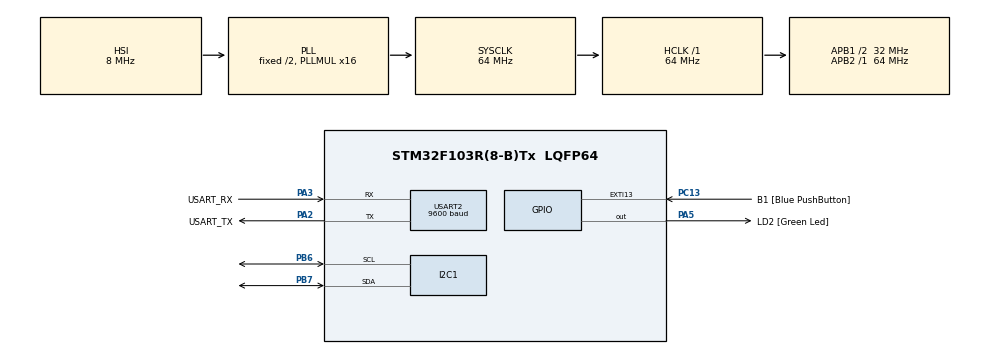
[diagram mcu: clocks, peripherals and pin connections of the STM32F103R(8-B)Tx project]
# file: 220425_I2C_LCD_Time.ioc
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Mcu.Family=STM32F1
Mcu.Name=STM32F103R(8-B)Tx
Mcu.Package=LQFP64
NVIC.EXTI15_10_IRQn=true\:0\:0\:false\:false\:true\:true\:true\:true
NVIC.PriorityGroup=NVIC_PRIORITYGROUP_4
NVIC.TIM2_IRQn=true\:0\:0\:false\:false\:true\:true\:true\:true
PA13.GPIO_Label=TMS
PA13.Mode=Serial_Wire
PA13.Signal=SYS_JTMS-SWDIO
PA14.GPIO_Label=TCK
PA14.Mode=Serial_Wire
PA14.Signal=SYS_JTCK-SWCLK
PA2.GPIO_Label=USART_TX
PA2.GPIO_Mode=GPIO_MODE_AF_PP
PA2.GPIO_PuPd=GPIO_NOPULL
PA2.GPIO_Speed=GPIO_SPEED_FREQ_LOW
PA2.Mode=Asynchronous
PA2.Signal=USART2_TX
PA3.GPIO_Label=USART_RX
PA3.GPIO_Mode=GPIO_MODE_AF_PP
PA3.GPIO_PuPd=GPIO_NOPULL
PA3.GPIO_Speed=GPIO_SPEED_FREQ_LOW
PA3.Mode=Asynchronous
PA3.Signal=USART2_RX
PA5.GPIO_Label=LD2 [Green Led]
PA5.GPIO_ModeDefaultOutputPP=GPIO_MODE_OUTPUT_PP
PA5.GPIO_PuPd=GPIO_NOPULL
PA5.GPIO_Speed=GPIO_SPEED_FREQ_LOW
PA5.Signal=GPIO_Output
PB3.GPIO_Label=SWO
PB3.Signal=SYS_JTDO-TRACESWO
PB6.Mode=I2C
PB6.Signal=I2C1_SCL
PB7.Mode=I2C
PB7.Signal=I2C1_SDA
PC13-TAMPER-RTC.GPIO_Label=B1 [Blue PushButton]
PC13-TAMPER-RTC.GPIO_PuPd=GPIO_NOPULL
PC13-TAMPER-RTC.Signal=GPXTI13
PC14-OSC32_IN.Mode=LSE-External-Oscillator
PC14-OSC32_IN.Signal=RCC_OSC32_IN
PC15-OSC32_OUT.Mode=LSE-External-Oscillator
PC15-OSC32_OUT.Signal=RCC_OSC32_OUT
PD0-OSC_IN.Mode=HSE-External-Clock-Source
PD0-OSC_IN.Signal=RCC_OSC_IN
PD1-OSC_OUT.Mode=HSE-External-Clock-Source
PD1-OSC_OUT.Signal=RCC_OSC_OUT
ProjectManager.HeapSize=0x200
ProjectManager.StackSize=0x400
ProjectManager.TargetToolchain=STM32CubeIDE
RCC.AHBFreq_Value=64000000
RCC.APB1CLKDivider=RCC_HCLK_DIV2
RCC.APB1Freq_Value=32000000
RCC.APB1TimFreq_Value=64000000
RCC.APB2Freq_Value=64000000
RCC.APB2TimFreq_Value=64000000
RCC.HCLKFreq_Value=64000000
RCC.PLLMUL=RCC_PLL_MUL16
RCC.RTCClockSelection=RCC_RTCCLKSOURCE_LSE
RCC.SYSCLKFreq_VALUE=64000000
RCC.SYSCLKSource=RCC_SYSCLKSOURCE_PLLCLK
RCC.USBFreq_Value=64000000
TIM2.Period=1000-1
TIM2.Prescaler=6400-1
USART2.BaudRate=9600
USART2.VirtualMode=VM_ASYNC
VP_TIM2_VS_ClockSourceINT.Mode=Internal
board=NUCLEO-F103RB

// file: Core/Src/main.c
/* USER CODE BEGIN Header */
/**
 ******************************************************************************
 * @file           : main.c
 * @brief          : Main program body
 ******************************************************************************
 * @attention
 *
 * Copyright (c) 2022 STMicroelectronics.
 * All rights reserved.
 *
 * This software is licensed under terms that can be found in the LICENSE file
 * in the root directory of this software component.
 * If no LICENSE file comes with this software, it is provided AS-IS.
 *
 ******************************************************************************
 */
/* USER CODE END Header */
#include "main.h"

I2C_HandleTypeDef hi2c1;

TIM_HandleTypeDef htim2;

UART_HandleTypeDef huart2;

/* USER CODE BEGIN PV */
int flag = 0;
int hour_state = 0; // 0 = AM, 1 = PM
char AM_PM[10] = "AM";
int min = 0, hour = 12, sec = 0;
/* USER CODE END PV */

void SystemClock_Config(void);
static void MX_GPIO_Init(void);
static void MX_USART2_UART_Init(void);
static void MX_I2C1_Init(void);
static void MX_TIM2_Init(void);
/* USER CODE BEGIN PFP */
#ifdef __GNUC__
/* With GCC, small printf (option LD Linker->Libraries->Small printf
 set to 'Yes') calls __io_putchar() */
#define PUTCHAR_PROTOTYPE int __io_putchar(int ch)
#else
#define PUTCHAR_PROTOTYPE int fputc(int ch, FILE *f)
#endif /* __GNUC__ */
PUTCHAR_PROTOTYPE {
	/* Place your implementation of fputc here */
	/* e.g. write a character to the USART1 and Loop until the end of transmission */
	HAL_UART_Transmit(&huart2, (uint8_t*) &ch, 1, 0xFFFF);

	return ch;
}
/* USER CODE END PFP */

int main(void) {

	/* MCU Configuration--------------------------------------------------------*/

	/* Reset of all peripherals, Initializes the Flash interface and the Systick. */
	HAL_Init();

	/* Configure the system clock */
	SystemClock_Config();

	/* Initialize all configured peripherals */
	MX_GPIO_Init();
	MX_USART2_UART_Init();
	MX_I2C1_Init();
	MX_TIM2_Init();
	/* USER CODE BEGIN 2 */
	lcd_init();

	HAL_TIM_Base_Start_IT(&htim2);
	/* USER CODE END 2 */

	/* Infinite loop */
	/* USER CODE BEGIN WHILE */
	while (1) {
		//lcd_clear();
		lcd_put_cur(0, 0);
		lcd_send_string("clock");

		lcd_put_cur(1, 0);
		char str[50];

		sprintf(str, " %d : %d : %d  ", hour, min, sec);
		lcd_send_string(AM_PM);
		lcd_send_string(str);
//		char h = hour + '0';
//		char m = min + '0';
//		char s = sec + '0';
//
//		lcd_send_string(&h);
//		lcd_send_string("H ");
//
//		lcd_send_string(&m);
//		lcd_send_string("M ");
//
//		lcd_send_string(&s);
//		lcd_send_string("S");

		printf("%d시 %d분 %d초\n\r", hour, min, sec);
		HAL_Delay(500);
		/* USER CODE END WHILE */

	}
}

void SystemClock_Config(void) {
	RCC_OscInitTypeDef RCC_OscInitStruct = { 0 };
	RCC_ClkInitTypeDef RCC_ClkInitStruct = { 0 };

	/** Initializes the RCC Oscillators according to the specified parameters
	 * in the RCC_OscInitTypeDef structure.
	 */
	RCC_OscInitStruct.OscillatorType = RCC_OSCILLATORTYPE_HSI;
	RCC_OscInitStruct.HSIState = RCC_HSI_ON;
	RCC_OscInitStruct.HSICalibrationValue = RCC_HSICALIBRATION_DEFAULT;
	RCC_OscInitStruct.PLL.PLLState = RCC_PLL_ON;
	RCC_OscInitStruct.PLL.PLLSource = RCC_PLLSOURCE_HSI_DIV2;
	RCC_OscInitStruct.PLL.PLLMUL = RCC_PLL_MUL16;
	if (HAL_RCC_OscConfig(&RCC_OscInitStruct) != HAL_OK) {
		Error_Handler();
	}

	/** Initializes the CPU, AHB and APB buses clocks
	 */
	RCC_ClkInitStruct.ClockType = RCC_CLOCKTYPE_HCLK | RCC_CLOCKTYPE_SYSCLK
			| RCC_CLOCKTYPE_PCLK1 | RCC_CLOCKTYPE_PCLK2;
	RCC_ClkInitStruct.SYSCLKSource = RCC_SYSCLKSOURCE_PLLCLK;
	RCC_ClkInitStruct.AHBCLKDivider = RCC_SYSCLK_DIV1;
	RCC_ClkInitStruct.APB1CLKDivider = RCC_HCLK_DIV2;
	RCC_ClkInitStruct.APB2CLKDivider = RCC_HCLK_DIV1;

	if (HAL_RCC_ClockConfig(&RCC_ClkInitStruct, FLASH_LATENCY_2) != HAL_OK) {
		Error_Handler();
	}
}

static void MX_I2C1_Init(void) {

	hi2c1.Instance = I2C1;
	hi2c1.Init.ClockSpeed = 100000;
	hi2c1.Init.DutyCycle = I2C_DUTYCYCLE_2;
	hi2c1.Init.OwnAddress1 = 0;
	hi2c1.Init.AddressingMode = I2C_ADDRESSINGMODE_7BIT;
	hi2c1.Init.DualAddressMode = I2C_DUALADDRESS_DISABLE;
	hi2c1.Init.OwnAddress2 = 0;
	hi2c1.Init.GeneralCallMode = I2C_GENERALCALL_DISABLE;
	hi2c1.Init.NoStretchMode = I2C_NOSTRETCH_DISABLE;
	if (HAL_I2C_Init(&hi2c1) != HAL_OK) {
		Error_Handler();
	}

}

static void MX_TIM2_Init(void) {

	TIM_ClockConfigTypeDef sClockSourceConfig = { 0 };
	TIM_MasterConfigTypeDef sMasterConfig = { 0 };

	htim2.Instance = TIM2;
	htim2.Init.Prescaler = 6400 - 1;
	htim2.Init.CounterMode = TIM_COUNTERMODE_UP;
	htim2.Init.Period = 1000 - 1;
	htim2.Init.ClockDivision = TIM_CLOCKDIVISION_DIV1;
	htim2.Init.AutoReloadPreload = TIM_AUTORELOAD_PRELOAD_DISABLE;
	if (HAL_TIM_Base_Init(&htim2) != HAL_OK) {
		Error_Handler();
	}
	sClockSourceConfig.ClockSource = TIM_CLOCKSOURCE_INTERNAL;
	if (HAL_TIM_ConfigClockSource(&htim2, &sClockSourceConfig) != HAL_OK) {
		Error_Handler();
	}
	sMasterConfig.MasterOutputTrigger = TIM_TRGO_RESET;
	sMasterConfig.MasterSlaveMode = TIM_MASTERSLAVEMODE_DISABLE;
	if (HAL_TIMEx_MasterConfigSynchronization(&htim2, &sMasterConfig)
			!= HAL_OK) {
		Error_Handler();
	}

}

static void MX_USART2_UART_Init(void) {

	huart2.Instance = USART2;
	huart2.Init.BaudRate = 9600;
	huart2.Init.WordLength = UART_WORDLENGTH_8B;
	huart2.Init.StopBits = UART_STOPBITS_1;
	huart2.Init.Parity = UART_PARITY_NONE;
	huart2.Init.Mode = UART_MODE_TX_RX;
	huart2.Init.HwFlowCtl = UART_HWCONTROL_NONE;
	huart2.Init.OverSampling = UART_OVERSAMPLING_16;
	if (HAL_UART_Init(&huart2) != HAL_OK) {
		Error_Handler();
	}

}

static void MX_GPIO_Init(void) {
	GPIO_InitTypeDef GPIO_InitStruct = { 0 };

	/* GPIO Ports Clock Enable */
	__HAL_RCC_GPIOC_CLK_ENABLE();
	__HAL_RCC_GPIOD_CLK_ENABLE();
	__HAL_RCC_GPIOA_CLK_ENABLE();
	__HAL_RCC_GPIOB_CLK_ENABLE();

	/*Configure GPIO pin Output Level */
	HAL_GPIO_WritePin(LD2_GPIO_Port, LD2_Pin, GPIO_PIN_RESET);

	/*Configure GPIO pin : B1_Pin */
	GPIO_InitStruct.Pin = B1_Pin;
	GPIO_InitStruct.Mode = GPIO_MODE_IT_RISING;
	GPIO_InitStruct.Pull = GPIO_NOPULL;
	HAL_GPIO_Init(B1_GPIO_Port, &GPIO_InitStruct);

	/*Configure GPIO pin : LD2_Pin */
	GPIO_InitStruct.Pin = LD2_Pin;
	GPIO_InitStruct.Mode = GPIO_MODE_OUTPUT_PP;
	GPIO_InitStruct.Pull = GPIO_NOPULL;
	GPIO_InitStruct.Speed = GPIO_SPEED_FREQ_LOW;
	HAL_GPIO_Init(LD2_GPIO_Port, &GPIO_InitStruct);

	/* EXTI interrupt init*/
	HAL_NVIC_SetPriority(EXTI15_10_IRQn, 0, 0);
	HAL_NVIC_EnableIRQ(EXTI15_10_IRQn);

}

/* USER CODE BEGIN 4 */
void HAL_TIM_PeriodElapsedCallback(TIM_HandleTypeDef *htim) {
	//flag += 1;
	//if (flag == 10) {
	//	flag = 0;
	sec += 1;
	if (sec == 60) {
		min += 1;
		sec = 0;
	}
	if (min == 60) {
		hour += 1;
		min = 0;
	}
	if(hour == 12){
		if (hour_state == 0) { //hour_state first state == 0
							   //AP_PM first state == "AM"
			AM_PM[10] = "PM";
			hour_state = 1;
		} else {
			AM_PM[10] = "AM";
			hour_state = 0;
		}
	}
	else if (hour == 13) {
		hour = 1;
	}
	//}
}
/* USER CODE END 4 */

void Error_Handler(void) {
	__disable_irq();
	while (1) {
	}
}
